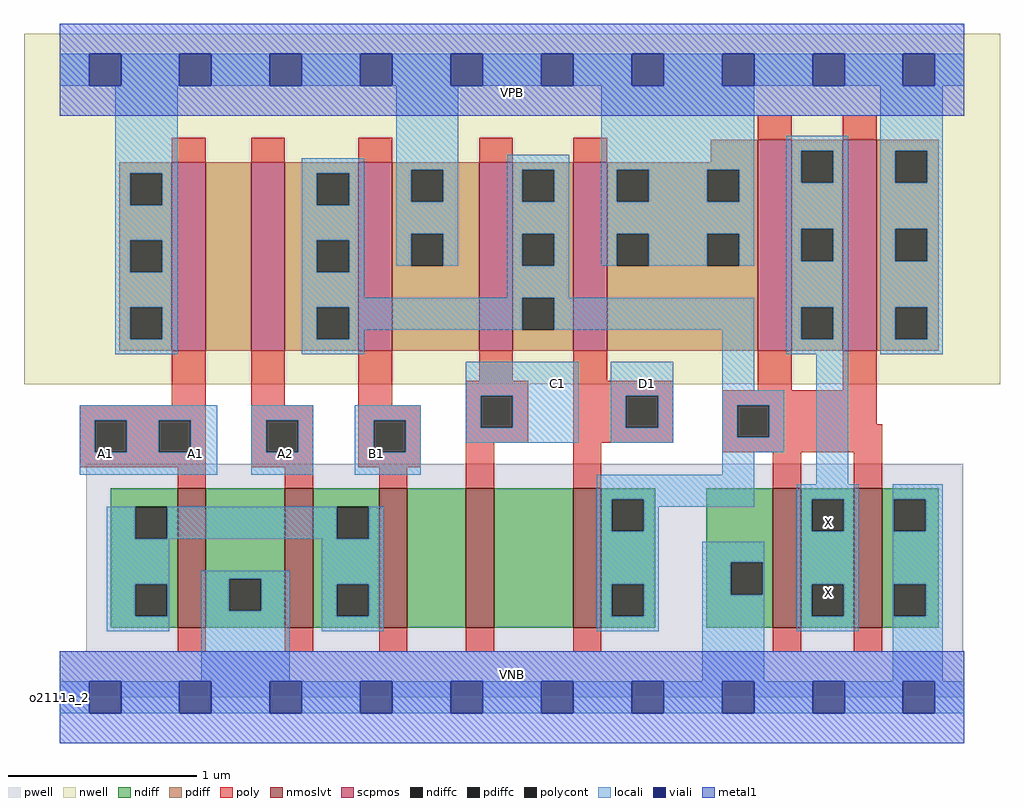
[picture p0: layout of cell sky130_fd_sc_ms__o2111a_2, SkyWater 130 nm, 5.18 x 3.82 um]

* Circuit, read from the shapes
.subckt sky130_fd_sc_ms__o2111a_2 A1 A2 B1 C1 D1 VGND VNB VPB VPWR X
XM1 VGND A1 n1 VNB sky130_fd_pr__nfet_01v8_lvt w=0.74 l=0.15
XM2 n1 A2 VGND VNB sky130_fd_pr__nfet_01v8_lvt w=0.74 l=0.15
XM3 n2 B1 n1 VNB sky130_fd_pr__nfet_01v8_lvt w=0.74 l=0.15
XM4 n3 C1 n2 VNB sky130_fd_pr__nfet_01v8_lvt w=0.74 l=0.15
XM5 n4 D1 n3 VNB sky130_fd_pr__nfet_01v8_lvt w=0.74 l=0.15
XM6 X n4 VGND VNB sky130_fd_pr__nfet_01v8_lvt w=0.74 l=0.15 m=2
XM7 n5 A1 VPWR VPB sky130_fd_pr__pfet_01v8 w=1 l=0.18
XM8 n4 A2 n5 VPB sky130_fd_pr__pfet_01v8 w=1 l=0.18
XM9 VPWR B1 n4 VPB sky130_fd_pr__pfet_01v8 w=1 l=0.18
XM10 n4 C1 VPWR VPB sky130_fd_pr__pfet_01v8 w=1 l=0.18
XM11 VPWR D1 n4 VPB sky130_fd_pr__pfet_01v8 w=1 l=0.18
XM12 X n4 VPWR VPB sky130_fd_pr__pfet_01v8 w=1.12 l=0.18 m=2
.ends

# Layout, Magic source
magic
tech sky130A
magscale 1 2
<< nwell >>
rect -38 332 998 704
<< pwell >>
rect 28 49 959 248
rect 0 0 960 49
<< scpmos >>
rect 119 368 155 568
rect 203 368 239 568
rect 317 368 353 568
rect 445 368 481 568
rect 545 368 581 568
rect 741 368 777 592
rect 831 368 867 592
<< nmoslvt >>
rect 125 74 155 222
rect 239 74 269 222
rect 339 74 369 222
rect 431 74 461 222
rect 545 74 575 222
rect 757 74 787 222
rect 843 74 873 222
<< ndiff >>
rect 54 202 125 222
rect 54 168 80 202
rect 114 168 125 202
rect 54 120 125 168
rect 54 86 80 120
rect 114 86 125 120
rect 54 74 125 86
rect 155 126 239 222
rect 155 92 180 126
rect 214 92 239 126
rect 155 74 239 92
rect 269 202 339 222
rect 269 168 294 202
rect 328 168 339 202
rect 269 120 339 168
rect 269 86 294 120
rect 328 86 339 120
rect 269 74 339 86
rect 369 74 431 222
rect 461 74 545 222
rect 575 210 632 222
rect 575 176 586 210
rect 620 176 632 210
rect 575 120 632 176
rect 575 86 586 120
rect 620 86 632 120
rect 575 74 632 86
rect 686 143 757 222
rect 686 109 712 143
rect 746 109 757 143
rect 686 74 757 109
rect 787 210 843 222
rect 787 176 798 210
rect 832 176 843 210
rect 787 120 843 176
rect 787 86 798 120
rect 832 86 843 120
rect 787 74 843 86
rect 873 210 933 222
rect 873 176 885 210
rect 919 176 933 210
rect 873 120 933 176
rect 873 86 885 120
rect 919 86 933 120
rect 873 74 933 86
<< pdiff >>
rect 691 568 741 592
rect 63 556 119 568
rect 63 522 75 556
rect 109 522 119 556
rect 63 485 119 522
rect 63 451 75 485
rect 109 451 119 485
rect 63 414 119 451
rect 63 380 75 414
rect 109 380 119 414
rect 63 368 119 380
rect 155 368 203 568
rect 239 556 317 568
rect 239 522 273 556
rect 307 522 317 556
rect 239 485 317 522
rect 239 451 273 485
rect 307 451 317 485
rect 239 414 317 451
rect 239 380 273 414
rect 307 380 317 414
rect 239 368 317 380
rect 353 560 445 568
rect 353 526 373 560
rect 407 526 445 560
rect 353 492 445 526
rect 353 458 373 492
rect 407 458 445 492
rect 353 368 445 458
rect 481 560 545 568
rect 481 526 491 560
rect 525 526 545 560
rect 481 492 545 526
rect 481 458 491 492
rect 525 458 545 492
rect 481 424 545 458
rect 481 390 491 424
rect 525 390 545 424
rect 481 368 545 390
rect 581 560 741 568
rect 581 526 591 560
rect 625 526 687 560
rect 721 526 741 560
rect 581 492 741 526
rect 581 458 591 492
rect 625 458 687 492
rect 721 458 741 492
rect 581 368 741 458
rect 777 580 831 592
rect 777 546 787 580
rect 821 546 831 580
rect 777 497 831 546
rect 777 463 787 497
rect 821 463 831 497
rect 777 414 831 463
rect 777 380 787 414
rect 821 380 831 414
rect 777 368 831 380
rect 867 580 933 592
rect 867 546 887 580
rect 921 546 933 580
rect 867 497 933 546
rect 867 463 887 497
rect 921 463 933 497
rect 867 414 933 463
rect 867 380 887 414
rect 921 380 933 414
rect 867 368 933 380
<< ndiffc >>
rect 80 168 114 202
rect 80 86 114 120
rect 180 92 214 126
rect 294 168 328 202
rect 294 86 328 120
rect 586 176 620 210
rect 586 86 620 120
rect 712 109 746 143
rect 798 176 832 210
rect 798 86 832 120
rect 885 176 919 210
rect 885 86 919 120
<< pdiffc >>
rect 75 522 109 556
rect 75 451 109 485
rect 75 380 109 414
rect 273 522 307 556
rect 273 451 307 485
rect 273 380 307 414
rect 373 526 407 560
rect 373 458 407 492
rect 491 526 525 560
rect 491 458 525 492
rect 491 390 525 424
rect 591 526 625 560
rect 687 526 721 560
rect 591 458 625 492
rect 687 458 721 492
rect 787 546 821 580
rect 787 463 821 497
rect 787 380 821 414
rect 887 546 921 580
rect 887 463 921 497
rect 887 380 921 414
<< poly >>
rect 119 568 155 594
rect 203 568 239 594
rect 317 568 353 594
rect 445 568 481 594
rect 545 568 581 594
rect 741 592 777 618
rect 831 592 867 618
rect 119 310 155 368
rect 21 294 155 310
rect 21 260 37 294
rect 71 260 105 294
rect 139 260 155 294
rect 21 244 155 260
rect 203 310 239 368
rect 317 310 353 368
rect 445 336 481 368
rect 545 336 581 368
rect 431 320 497 336
rect 203 294 269 310
rect 203 260 219 294
rect 253 260 269 294
rect 203 244 269 260
rect 317 294 383 310
rect 317 260 333 294
rect 367 260 383 294
rect 317 244 383 260
rect 431 286 447 320
rect 481 286 497 320
rect 431 270 497 286
rect 545 320 651 336
rect 741 326 777 368
rect 831 326 867 368
rect 545 286 601 320
rect 635 286 651 320
rect 545 270 651 286
rect 703 310 867 326
rect 703 276 719 310
rect 753 290 867 310
rect 753 276 873 290
rect 125 222 155 244
rect 239 222 269 244
rect 339 222 369 244
rect 431 222 461 270
rect 545 222 575 270
rect 703 260 873 276
rect 757 222 787 260
rect 843 222 873 260
rect 125 48 155 74
rect 239 48 269 74
rect 339 48 369 74
rect 431 48 461 74
rect 545 48 575 74
rect 757 48 787 74
rect 843 48 873 74
<< polycont >>
rect 37 260 71 294
rect 105 260 139 294
rect 219 260 253 294
rect 333 260 367 294
rect 447 286 481 320
rect 601 286 635 320
rect 719 276 753 310
<< locali >>
rect 0 649 31 683
rect 65 649 127 683
rect 161 649 223 683
rect 257 649 319 683
rect 353 649 415 683
rect 449 649 511 683
rect 545 649 607 683
rect 641 649 703 683
rect 737 649 799 683
rect 833 649 895 683
rect 929 649 960 683
rect 59 556 125 649
rect 59 522 75 556
rect 109 522 125 556
rect 59 485 125 522
rect 59 451 75 485
rect 109 451 125 485
rect 59 414 125 451
rect 59 380 75 414
rect 109 380 125 414
rect 59 364 125 380
rect 257 556 323 572
rect 257 522 273 556
rect 307 522 323 556
rect 257 485 323 522
rect 257 451 273 485
rect 307 451 323 485
rect 357 560 423 649
rect 357 526 373 560
rect 407 526 423 560
rect 357 492 423 526
rect 357 458 373 492
rect 407 458 423 492
rect 475 560 541 576
rect 475 526 491 560
rect 525 526 541 560
rect 475 492 541 526
rect 475 458 491 492
rect 525 458 541 492
rect 575 560 737 649
rect 575 526 591 560
rect 625 526 687 560
rect 721 526 737 560
rect 575 492 737 526
rect 575 458 591 492
rect 625 458 687 492
rect 721 458 737 492
rect 771 580 837 596
rect 771 546 787 580
rect 821 546 837 580
rect 771 497 837 546
rect 771 463 787 497
rect 821 463 837 497
rect 257 424 323 451
rect 475 424 541 458
rect 257 414 491 424
rect 257 380 273 414
rect 307 390 491 414
rect 525 390 737 424
rect 307 380 323 390
rect 257 364 323 380
rect 431 320 551 356
rect 21 294 167 310
rect 21 260 37 294
rect 71 260 105 294
rect 139 260 167 294
rect 21 236 167 260
rect 203 294 269 310
rect 203 260 219 294
rect 253 260 269 294
rect 203 236 269 260
rect 313 294 383 310
rect 313 260 333 294
rect 367 260 383 294
rect 431 286 447 320
rect 481 286 551 320
rect 431 270 551 286
rect 585 320 651 356
rect 585 286 601 320
rect 635 286 651 320
rect 585 270 651 286
rect 703 326 737 390
rect 771 414 837 463
rect 771 380 787 414
rect 821 380 837 414
rect 771 364 837 380
rect 871 580 937 649
rect 871 546 887 580
rect 921 546 937 580
rect 871 497 937 546
rect 871 463 887 497
rect 921 463 937 497
rect 871 414 937 463
rect 871 380 887 414
rect 921 380 937 414
rect 871 364 937 380
rect 703 310 769 326
rect 703 276 719 310
rect 753 276 769 310
rect 313 236 383 260
rect 703 260 769 276
rect 703 236 737 260
rect 570 210 737 236
rect 803 226 837 364
rect 50 168 80 202
rect 114 168 294 202
rect 328 168 344 202
rect 50 120 116 168
rect 50 86 80 120
rect 114 86 116 120
rect 50 70 116 86
rect 150 126 244 134
rect 150 92 180 126
rect 214 92 244 126
rect 150 17 244 92
rect 278 120 344 168
rect 278 86 294 120
rect 328 86 344 120
rect 278 70 344 86
rect 570 176 586 210
rect 620 202 737 210
rect 782 210 848 226
rect 620 176 636 202
rect 570 120 636 176
rect 782 176 798 210
rect 832 176 848 210
rect 570 86 586 120
rect 620 86 636 120
rect 570 70 636 86
rect 682 143 748 165
rect 682 109 712 143
rect 746 109 748 143
rect 682 17 748 109
rect 782 120 848 176
rect 782 86 798 120
rect 832 86 848 120
rect 782 70 848 86
rect 884 210 937 226
rect 884 176 885 210
rect 919 176 937 210
rect 884 120 937 176
rect 884 86 885 120
rect 919 86 937 120
rect 884 17 937 86
rect 0 -17 31 17
rect 65 -17 127 17
rect 161 -17 223 17
rect 257 -17 319 17
rect 353 -17 415 17
rect 449 -17 511 17
rect 545 -17 607 17
rect 641 -17 703 17
rect 737 -17 799 17
rect 833 -17 895 17
rect 929 -17 960 17
<< viali >>
rect 31 649 65 683
rect 127 649 161 683
rect 223 649 257 683
rect 319 649 353 683
rect 415 649 449 683
rect 511 649 545 683
rect 607 649 641 683
rect 703 649 737 683
rect 799 649 833 683
rect 895 649 929 683
rect 31 -17 65 17
rect 127 -17 161 17
rect 223 -17 257 17
rect 319 -17 353 17
rect 415 -17 449 17
rect 511 -17 545 17
rect 607 -17 641 17
rect 703 -17 737 17
rect 799 -17 833 17
rect 895 -17 929 17
<< metal1 >>
rect 0 683 960 715
rect 0 649 31 683
rect 65 649 127 683
rect 161 649 223 683
rect 257 649 319 683
rect 353 649 415 683
rect 449 649 511 683
rect 545 649 607 683
rect 641 649 703 683
rect 737 649 799 683
rect 833 649 895 683
rect 929 649 960 683
rect 0 617 960 649
rect 0 17 960 49
rect 0 -17 31 17
rect 65 -17 127 17
rect 161 -17 223 17
rect 257 -17 319 17
rect 353 -17 415 17
rect 449 -17 511 17
rect 545 -17 607 17
rect 641 -17 703 17
rect 737 -17 799 17
rect 833 -17 895 17
rect 929 -17 960 17
rect 0 -49 960 -17
<< labels >>
flabel pwell s 0 0 960 49 0 FreeSans 200 0 0 0 VNB
port 7 nsew ground bidirectional
flabel nwell s 0 617 960 666 0 FreeSans 200 0 0 0 VPB
port 8 nsew power bidirectional
rlabel comment s 0 0 0 0 4 o2111a_2
flabel metal1 s 0 617 960 666 0 FreeSans 340 0 0 0 VPWR
port 9 nsew power bidirectional
flabel metal1 s 0 0 960 49 0 FreeSans 340 0 0 0 VGND
port 6 nsew ground bidirectional
flabel locali s 31 242 65 276 0 FreeSans 340 0 0 0 A1
port 1 nsew signal input
flabel locali s 127 242 161 276 0 FreeSans 340 0 0 0 A1
port 1 nsew signal input
flabel locali s 223 242 257 276 0 FreeSans 340 0 0 0 A2
port 2 nsew signal input
flabel locali s 319 242 353 276 0 FreeSans 340 0 0 0 B1
port 3 nsew signal input
flabel locali s 511 316 545 350 0 FreeSans 340 0 0 0 C1
port 4 nsew signal input
flabel locali s 607 316 641 350 0 FreeSans 340 0 0 0 D1
port 5 nsew signal input
flabel locali s 799 94 833 128 0 FreeSans 340 0 0 0 X
port 10 nsew signal output
flabel locali s 799 168 833 202 0 FreeSans 340 0 0 0 X
port 10 nsew signal output
<< properties >>
string LEFsite unit
string LEFclass CORE
string FIXED_BBOX 0 0 960 666
string GDS_FILE $PDKPATH/libs.ref/sky130_fd_sc_ms/gds/sky130_fd_sc_ms.gds
string LEFsymmetry X Y
string GDS_END 2306574
string GDS_START 2298496
<< end >>
